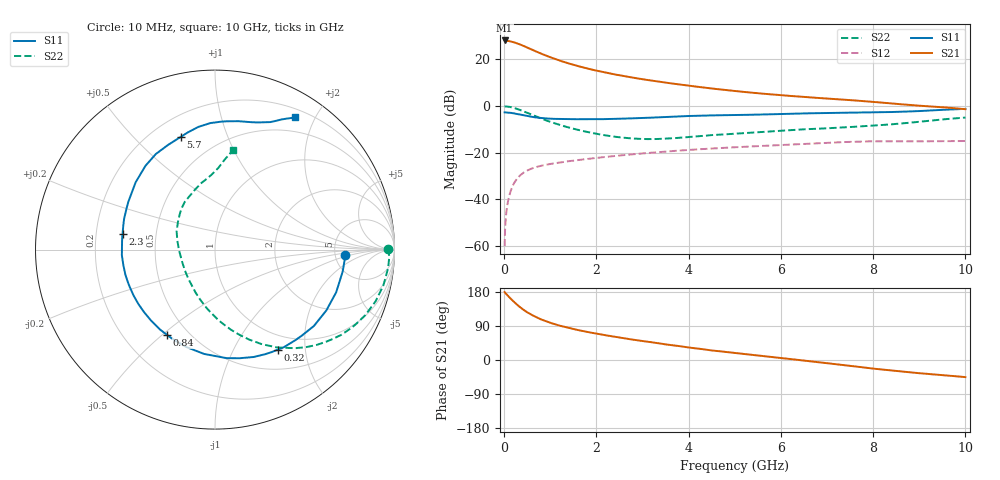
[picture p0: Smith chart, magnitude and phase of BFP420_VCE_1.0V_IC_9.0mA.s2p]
! Infineon Technologies  Discrete & RF Semiconductors
! BFP420
! VCE =  1.0 V,  IC =  9.0 mA
! Common Emitter S-Parameters:  Jan 2016
# GHz  S  MA  R  50
!  f  S11  S21  S12  S22
! GHz  MAG  ANG  MAG  ANG  MAG  ANG  MAG  ANG
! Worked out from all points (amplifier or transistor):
!   233 points, 10 MHz to 10 GHz, reference 50 ohm
!   highest |S21| = 28.0 dB at 10 MHz (marker M1)
!   |S21| within 3 dB of that: start of sweep to 496.8 MHz
!   unconditionally stable (mu >= 1): 2.375 GHz to end of sweep
!   at 200 MHz: K = 0.13, MSG = 30.4 dB, |S12| = -33.6 dB
!   at 1.74 GHz: K = 0.82, MSG = 19.6 dB, |S12| = -22.8 dB
!   at 10 GHz: K = 1.08, MAG = 5.1 dB, |S12| = -15.0 dB
!   S11 on the Smith chart (normalised r, x): 10 MHz: 6.20, -0.80; 320 MHz: 0.77, -1.52; 840 MHz: 0.38, -0.52; 2.3 GHz: 0.32, +0.08; 5.7 GHz: 0.31, +0.69; 10 GHz: 0.30, +1.74
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0.01  0.7262 -2.4  25.02 179.3  0.001 104.3  0.965 0.3
0.02  0.7251 -4.0  24.5 177.7  0.0022 90.2  0.9719 -2.3
0.1  0.7158 -19.4  24.35 167.2  0.0109 81.4  0.9592 -12.0
0.16  0.7034 -30.5  23.66 159.6  0.017 75.6  0.9337 -19.0
0.24  0.681 -44.7  22.39 150.3  0.0244 69.3  0.8887 -27.8
0.32  0.6578 -58.0  21 141.9  0.0307 63.7  0.8343 -35.8
0.4  0.6359 -70.2  19.52 134.2  0.0361 58.8  0.7778 -43.0
0.45  0.6204 -77.3  18.57 129.9  0.039 56.3  0.7426 -47.1
0.6  0.5844 -96.0  15.96 118.7  0.0458 50.0  0.6438 -57.8
0.7  0.5656 -106.7  14.43 112.5  0.0493 47.0  0.5865 -63.8
0.84  0.5453 -119.2  12.62 105.3  0.0533 43.9  0.5186 -71.1
1  0.5324 -131.9  10.95 98.1  0.0573 41.3  0.4547 -78.8
1.2  0.5235 -144.8  9.313 90.7  0.0615 39.1  0.3924 -87.4
1.4  0.5192 -155.5  8.063 84.5  0.0655 37.6  0.3446 -95.2
1.68  0.5178 -168.0  6.76 77.0  0.0709 36.0  0.2942 -105.6
2.3  0.5228 170.2  4.916 63.3  0.0828 32.8  0.2255 -129.0
3.4  0.5723 141.9  3.241 43.2  0.1034 26.4  0.197 -173.8
5.1  0.6389 114.3  2.028 17.2  0.1317 14.4  0.2573 143.4
5.7  0.6571 106.8  1.789 9.3  0.1408 10.2  0.2811 133.8
6.8  0.6984 94.3  1.478 -5.6  0.1588 1.4  0.3241 117.8
8.4  0.7381 74.1  1.125 -27.9  0.1745 -15.0  0.4031 95.3
10  0.8616 58.7  0.849 -45.2  0.1771 -26.1  0.5621 79.8
